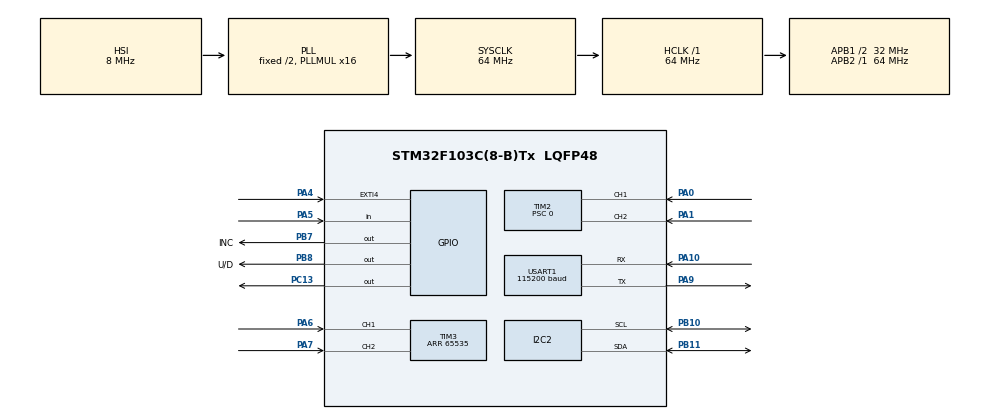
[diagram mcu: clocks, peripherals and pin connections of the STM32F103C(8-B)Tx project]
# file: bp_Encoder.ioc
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I2C2.I2C_Mode=I2C_Fast
Mcu.Family=STM32F1
Mcu.Name=STM32F103C(8-B)Tx
Mcu.Package=LQFP48
NVIC.PriorityGroup=NVIC_PRIORITYGROUP_4
NVIC.TIM4_IRQn=true\:0\:0\:false\:false\:true\:true
NVIC.USART1_IRQn=true\:0\:0\:false\:false\:true\:true
PA0-WKUP.GPIO_PuPd=GPIO_PULLUP
PA0-WKUP.Signal=S_TIM2_CH1_ETR
PA1.GPIO_PuPd=GPIO_PULLUP
PA1.Signal=S_TIM2_CH2
PA10.Mode=Asynchronous
PA10.Signal=USART1_RX
PA13.Mode=Serial_Wire
PA13.Signal=SYS_JTMS-SWDIO
PA14.Mode=Serial_Wire
PA14.Signal=SYS_JTCK-SWCLK
PA4.GPIO_ModeDefaultEXTI=GPIO_MODE_IT_RISING_FALLING
PA4.Signal=GPXTI4
PA5.Signal=GPIO_Input
PA6.Signal=S_TIM3_CH1
PA7.Signal=S_TIM3_CH2
PA9.Mode=Asynchronous
PA9.Signal=USART1_TX
PB10.Mode=I2C
PB10.Signal=I2C2_SCL
PB11.Mode=I2C
PB11.Signal=I2C2_SDA
PB7.GPIO_Label=INC
PB7.PinState=GPIO_PIN_SET
PB7.Signal=GPIO_Output
PB8.GPIO_Label=U/D
PB8.Signal=GPIO_Output
PC13-TAMPER-RTC.Signal=GPIO_Output
ProjectManager.HeapSize=0x200
ProjectManager.StackSize=0x400
ProjectManager.TargetToolchain=TrueSTUDIO
RCC.AHBFreq_Value=64000000
RCC.APB1CLKDivider=RCC_HCLK_DIV2
RCC.APB1Freq_Value=32000000
RCC.APB1TimFreq_Value=64000000
RCC.APB2Freq_Value=64000000
RCC.APB2TimFreq_Value=64000000
RCC.HCLKFreq_Value=64000000
RCC.PLLMUL=RCC_PLL_MUL16
RCC.SYSCLKFreq_VALUE=64000000
RCC.SYSCLKSource=RCC_SYSCLKSOURCE_PLLCLK
RCC.USBFreq_Value=64000000
SH.S_TIM2_CH1_ETR.0=TIM2_CH1,Encoder_Interface
SH.S_TIM2_CH2.0=TIM2_CH2,Encoder_Interface
SH.S_TIM3_CH1.0=TIM3_CH1,Encoder_Interface
SH.S_TIM3_CH2.0=TIM3_CH2,Encoder_Interface
TIM2.AutoReloadPreload=TIM_AUTORELOAD_PRELOAD_DISABLE
TIM2.EncoderMode=TIM_ENCODERMODE_TI12
TIM2.Period=65535
TIM2.Prescaler=0
TIM3.EncoderMode=TIM_ENCODERMODE_TI12
TIM3.Period=65535
TIM4.Period=9
TIM4.Prescaler=31
USART1.BaudRate=115200
USART1.VirtualMode=VM_ASYNC
VP_TIM4_VS_ClockSourceINT.Mode=Internal
board=custom

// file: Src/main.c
/* USER CODE BEGIN Header */
/**
  ******************************************************************************
  * @file           : main.c
  * @brief          : Main program body
  ******************************************************************************
  ** This notice applies to any and all portions of this file
  * that are not between comment pairs USER CODE BEGIN and
  * USER CODE END. Other portions of this file, whether
  * inserted by the user or by software development tools
  * are owned by their respective copyright owners.
  *
  * COPYRIGHT(c) 2019 STMicroelectronics
  *
  * Redistribution and use in source and binary forms, with or without modification,
  * are permitted provided that the following conditions are met:
  *   1. Redistributions of source code must retain the above copyright notice,
  *      this list of conditions and the following disclaimer.
  *   2. Redistributions in binary form must reproduce the above copyright notice,
  *      this list of conditions and the following disclaimer in the documentation
  *      and/or other materials provided with the distribution.
  *   3. Neither the name of STMicroelectronics nor the names of its contributors
  *      may be used to endorse or promote products derived from this software
  *      without specific prior written permission.
  *
  * THIS SOFTWARE IS PROVIDED BY THE COPYRIGHT HOLDERS AND CONTRIBUTORS "AS IS"
  * AND ANY EXPRESS OR IMPLIED WARRANTIES, INCLUDING, BUT NOT LIMITED TO, THE
  * IMPLIED WARRANTIES OF MERCHANTABILITY AND FITNESS FOR A PARTICULAR PURPOSE ARE
  * DISCLAIMED. IN NO EVENT SHALL THE COPYRIGHT HOLDER OR CONTRIBUTORS BE LIABLE
  * FOR ANY DIRECT, INDIRECT, INCIDENTAL, SPECIAL, EXEMPLARY, OR CONSEQUENTIAL
  * DAMAGES (INCLUDING, BUT NOT LIMITED TO, PROCUREMENT OF SUBSTITUTE GOODS OR
  * SERVICES; LOSS OF USE, DATA, OR PROFITS; OR BUSINESS INTERRUPTION) HOWEVER
  * CAUSED AND ON ANY THEORY OF LIABILITY, WHETHER IN CONTRACT, STRICT LIABILITY,
  * OR TORT (INCLUDING NEGLIGENCE OR OTHERWISE) ARISING IN ANY WAY OUT OF THE USE
  * OF THIS SOFTWARE, EVEN IF ADVISED OF THE POSSIBILITY OF SUCH DAMAGE.
  *
  ******************************************************************************
  */
/* USER CODE END Header */

#include "main.h"

/* USER CODE BEGIN Includes */
#include "ssd1306.h"
/* USER CODE END Includes */

I2C_HandleTypeDef hi2c2;

TIM_HandleTypeDef htim2;
TIM_HandleTypeDef htim3;
TIM_HandleTypeDef htim4;

UART_HandleTypeDef huart1;

/* USER CODE BEGIN PV */
int16_t n_pulsos_a = 0;
int16_t n_pulsos_b = 0;

int16_t prev_a = 0;
int16_t prev_b = 0;

uint8_t velocidad[1];
uint8_t cuenta = 0;
int steps = 0;
/* USER CODE END PV */

void SystemClock_Config(void);
static void MX_GPIO_Init(void);
static void MX_I2C2_Init(void);
static void MX_TIM2_Init(void);
static void MX_TIM3_Init(void);
static void MX_USART1_UART_Init(void);
static void MX_TIM4_Init(void);
/* USER CODE BEGIN PFP */
void init_resistencia();
void resistencia(uint8_t valor);
/* USER CODE END PFP */

int main(void)
{

  /* MCU Configuration--------------------------------------------------------*/

  /* Reset of all peripherals, Initializes the Flash interface and the Systick. */
  HAL_Init();

  /* Configure the system clock */
  SystemClock_Config();

  /* Initialize all configured peripherals */
  MX_GPIO_Init();
  MX_I2C2_Init();
  MX_TIM2_Init();
  MX_TIM3_Init();
  MX_USART1_UART_Init();
  MX_TIM4_Init();
  /* USER CODE BEGIN 2 */
  __HAL_UART_ENABLE_IT(&huart1, UART_IT_RXNE);
  init_resistencia();
  HAL_Delay(200);
  resistencia(50);

  set_oled_addr(0x78);
  ssd1306_sel_I2C(&hi2c2);
  SSD1306_Init ();

  SSD1306_UpdateScreen();
  HAL_TIM_Encoder_Start(&htim2, TIM_CHANNEL_2);
  HAL_TIM_Encoder_Start(&htim3, TIM_CHANNEL_2);

  uint8_t datos[2];
  /* USER CODE END 2 */

  /* Infinite loop */
  /* USER CODE BEGIN WHILE */
  while (1)
  {
	  n_pulsos_a = (TIM2->CNT);
	  n_pulsos_a = n_pulsos_a/4;
	  if(n_pulsos_a < 0){
		  n_pulsos_a = 0;
		  TIM2->CNT = 0;
	  }
	  if (n_pulsos_a > 100){
		  n_pulsos_a = 100;
		  TIM2->CNT = 400;
	  }
	  n_pulsos_b = (TIM3->CNT);
	  n_pulsos_b = n_pulsos_b/4;
	  if(n_pulsos_b < 0){
		  n_pulsos_b = 0;
		  TIM3->CNT = 0;
	  }
	  if (n_pulsos_b > 100){
		  n_pulsos_b = 100;
		  TIM3->CNT = 400;
	  }

	  if ((prev_a != n_pulsos_a) || (prev_b != n_pulsos_b)){
		  datos[0] = n_pulsos_a;
		  datos[1] = n_pulsos_b;
		  prev_a = n_pulsos_a;
		  prev_b = n_pulsos_b;
		  HAL_UART_Transmit(&huart1, datos, sizeof(datos), 10);
		  HAL_GPIO_TogglePin(GPIOC, GPIO_PIN_13);
	  }

	  SSD1306_Putint(n_pulsos_a, 1);
	  SSD1306_Putint(n_pulsos_b, 3);
	  SSD1306_UpdateScreen();
	  HAL_Delay(100);
    /* USER CODE END WHILE */

  }
}

void SystemClock_Config(void)
{
  RCC_OscInitTypeDef RCC_OscInitStruct = {0};
  RCC_ClkInitTypeDef RCC_ClkInitStruct = {0};

  /**Initializes the CPU, AHB and APB busses clocks
  */
  RCC_OscInitStruct.OscillatorType = RCC_OSCILLATORTYPE_HSI;
  RCC_OscInitStruct.HSIState = RCC_HSI_ON;
  RCC_OscInitStruct.HSICalibrationValue = RCC_HSICALIBRATION_DEFAULT;
  RCC_OscInitStruct.PLL.PLLState = RCC_PLL_ON;
  RCC_OscInitStruct.PLL.PLLSource = RCC_PLLSOURCE_HSI_DIV2;
  RCC_OscInitStruct.PLL.PLLMUL = RCC_PLL_MUL16;
  if (HAL_RCC_OscConfig(&RCC_OscInitStruct) != HAL_OK)
  {
    Error_Handler();
  }
  /**Initializes the CPU, AHB and APB busses clocks
  */
  RCC_ClkInitStruct.ClockType = RCC_CLOCKTYPE_HCLK|RCC_CLOCKTYPE_SYSCLK
                              |RCC_CLOCKTYPE_PCLK1|RCC_CLOCKTYPE_PCLK2;
  RCC_ClkInitStruct.SYSCLKSource = RCC_SYSCLKSOURCE_PLLCLK;
  RCC_ClkInitStruct.AHBCLKDivider = RCC_SYSCLK_DIV1;
  RCC_ClkInitStruct.APB1CLKDivider = RCC_HCLK_DIV2;
  RCC_ClkInitStruct.APB2CLKDivider = RCC_HCLK_DIV1;

  if (HAL_RCC_ClockConfig(&RCC_ClkInitStruct, FLASH_LATENCY_2) != HAL_OK)
  {
    Error_Handler();
  }
}

static void MX_I2C2_Init(void)
{

  hi2c2.Instance = I2C2;
  hi2c2.Init.ClockSpeed = 400000;
  hi2c2.Init.DutyCycle = I2C_DUTYCYCLE_2;
  hi2c2.Init.OwnAddress1 = 0;
  hi2c2.Init.AddressingMode = I2C_ADDRESSINGMODE_7BIT;
  hi2c2.Init.DualAddressMode = I2C_DUALADDRESS_DISABLE;
  hi2c2.Init.OwnAddress2 = 0;
  hi2c2.Init.GeneralCallMode = I2C_GENERALCALL_DISABLE;
  hi2c2.Init.NoStretchMode = I2C_NOSTRETCH_DISABLE;
  if (HAL_I2C_Init(&hi2c2) != HAL_OK)
  {
    Error_Handler();
  }

}

static void MX_TIM2_Init(void)
{

  TIM_Encoder_InitTypeDef sConfig = {0};
  TIM_MasterConfigTypeDef sMasterConfig = {0};

  htim2.Instance = TIM2;
  htim2.Init.Prescaler = 0;
  htim2.Init.CounterMode = TIM_COUNTERMODE_UP;
  htim2.Init.Period = 65535;
  htim2.Init.ClockDivision = TIM_CLOCKDIVISION_DIV1;
  htim2.Init.AutoReloadPreload = TIM_AUTORELOAD_PRELOAD_DISABLE;
  sConfig.EncoderMode = TIM_ENCODERMODE_TI12;
  sConfig.IC1Polarity = TIM_ICPOLARITY_RISING;
  sConfig.IC1Selection = TIM_ICSELECTION_DIRECTTI;
  sConfig.IC1Prescaler = TIM_ICPSC_DIV1;
  sConfig.IC1Filter = 0;
  sConfig.IC2Polarity = TIM_ICPOLARITY_RISING;
  sConfig.IC2Selection = TIM_ICSELECTION_DIRECTTI;
  sConfig.IC2Prescaler = TIM_ICPSC_DIV1;
  sConfig.IC2Filter = 0;
  if (HAL_TIM_Encoder_Init(&htim2, &sConfig) != HAL_OK)
  {
    Error_Handler();
  }
  sMasterConfig.MasterOutputTrigger = TIM_TRGO_RESET;
  sMasterConfig.MasterSlaveMode = TIM_MASTERSLAVEMODE_DISABLE;
  if (HAL_TIMEx_MasterConfigSynchronization(&htim2, &sMasterConfig) != HAL_OK)
  {
    Error_Handler();
  }

}

static void MX_TIM3_Init(void)
{

  TIM_Encoder_InitTypeDef sConfig = {0};
  TIM_MasterConfigTypeDef sMasterConfig = {0};

  htim3.Instance = TIM3;
  htim3.Init.Prescaler = 0;
  htim3.Init.CounterMode = TIM_COUNTERMODE_UP;
  htim3.Init.Period = 65535;
  htim3.Init.ClockDivision = TIM_CLOCKDIVISION_DIV1;
  htim3.Init.AutoReloadPreload = TIM_AUTORELOAD_PRELOAD_DISABLE;
  sConfig.EncoderMode = TIM_ENCODERMODE_TI12;
  sConfig.IC1Polarity = TIM_ICPOLARITY_RISING;
  sConfig.IC1Selection = TIM_ICSELECTION_DIRECTTI;
  sConfig.IC1Prescaler = TIM_ICPSC_DIV1;
  sConfig.IC1Filter = 0;
  sConfig.IC2Polarity = TIM_ICPOLARITY_RISING;
  sConfig.IC2Selection = TIM_ICSELECTION_DIRECTTI;
  sConfig.IC2Prescaler = TIM_ICPSC_DIV1;
  sConfig.IC2Filter = 0;
  if (HAL_TIM_Encoder_Init(&htim3, &sConfig) != HAL_OK)
  {
    Error_Handler();
  }
  sMasterConfig.MasterOutputTrigger = TIM_TRGO_RESET;
  sMasterConfig.MasterSlaveMode = TIM_MASTERSLAVEMODE_DISABLE;
  if (HAL_TIMEx_MasterConfigSynchronization(&htim3, &sMasterConfig) != HAL_OK)
  {
    Error_Handler();
  }

}

static void MX_TIM4_Init(void)
{

  TIM_ClockConfigTypeDef sClockSourceConfig = {0};
  TIM_MasterConfigTypeDef sMasterConfig = {0};

  htim4.Instance = TIM4;
  htim4.Init.Prescaler = 31;
  htim4.Init.CounterMode = TIM_COUNTERMODE_UP;
  htim4.Init.Period = 9;
  htim4.Init.ClockDivision = TIM_CLOCKDIVISION_DIV1;
  htim4.Init.AutoReloadPreload = TIM_AUTORELOAD_PRELOAD_DISABLE;
  if (HAL_TIM_Base_Init(&htim4) != HAL_OK)
  {
    Error_Handler();
  }
  sClockSourceConfig.ClockSource = TIM_CLOCKSOURCE_INTERNAL;
  if (HAL_TIM_ConfigClockSource(&htim4, &sClockSourceConfig) != HAL_OK)
  {
    Error_Handler();
  }
  sMasterConfig.MasterOutputTrigger = TIM_TRGO_RESET;
  sMasterConfig.MasterSlaveMode = TIM_MASTERSLAVEMODE_DISABLE;
  if (HAL_TIMEx_MasterConfigSynchronization(&htim4, &sMasterConfig) != HAL_OK)
  {
    Error_Handler();
  }

}

static void MX_USART1_UART_Init(void)
{

  huart1.Instance = USART1;
  huart1.Init.BaudRate = 115200;
  huart1.Init.WordLength = UART_WORDLENGTH_8B;
  huart1.Init.StopBits = UART_STOPBITS_1;
  huart1.Init.Parity = UART_PARITY_NONE;
  huart1.Init.Mode = UART_MODE_TX_RX;
  huart1.Init.HwFlowCtl = UART_HWCONTROL_NONE;
  huart1.Init.OverSampling = UART_OVERSAMPLING_16;
  if (HAL_UART_Init(&huart1) != HAL_OK)
  {
    Error_Handler();
  }

}

static void MX_GPIO_Init(void)
{
  GPIO_InitTypeDef GPIO_InitStruct = {0};

  /* GPIO Ports Clock Enable */
  __HAL_RCC_GPIOC_CLK_ENABLE();
  __HAL_RCC_GPIOA_CLK_ENABLE();
  __HAL_RCC_GPIOB_CLK_ENABLE();

  /*Configure GPIO pin Output Level */
  HAL_GPIO_WritePin(GPIOC, GPIO_PIN_13, GPIO_PIN_RESET);

  /*Configure GPIO pin Output Level */
  HAL_GPIO_WritePin(INC_GPIO_Port, INC_Pin, GPIO_PIN_SET);

  /*Configure GPIO pin Output Level */
  HAL_GPIO_WritePin(U_D_GPIO_Port, U_D_Pin, GPIO_PIN_RESET);

  /*Configure GPIO pin : PC13 */
  GPIO_InitStruct.Pin = GPIO_PIN_13;
  GPIO_InitStruct.Mode = GPIO_MODE_OUTPUT_PP;
  GPIO_InitStruct.Pull = GPIO_NOPULL;
  GPIO_InitStruct.Speed = GPIO_SPEED_FREQ_LOW;
  HAL_GPIO_Init(GPIOC, &GPIO_InitStruct);

  /*Configure GPIO pin : PA4 */
  GPIO_InitStruct.Pin = GPIO_PIN_4;
  GPIO_InitStruct.Mode = GPIO_MODE_IT_RISING_FALLING;
  GPIO_InitStruct.Pull = GPIO_NOPULL;
  HAL_GPIO_Init(GPIOA, &GPIO_InitStruct);

  /*Configure GPIO pin : PA5 */
  GPIO_InitStruct.Pin = GPIO_PIN_5;
  GPIO_InitStruct.Mode = GPIO_MODE_INPUT;
  GPIO_InitStruct.Pull = GPIO_NOPULL;
  HAL_GPIO_Init(GPIOA, &GPIO_InitStruct);

  /*Configure GPIO pins : INC_Pin U_D_Pin */
  GPIO_InitStruct.Pin = INC_Pin|U_D_Pin;
  GPIO_InitStruct.Mode = GPIO_MODE_OUTPUT_PP;
  GPIO_InitStruct.Pull = GPIO_NOPULL;
  GPIO_InitStruct.Speed = GPIO_SPEED_FREQ_LOW;
  HAL_GPIO_Init(GPIOB, &GPIO_InitStruct);

}

/* USER CODE BEGIN 4 */
void init_resistencia(){
	steps = 200;
	HAL_GPIO_WritePin(GPIOB,GPIO_PIN_8, 0);
	HAL_TIM_Base_Start_IT(&htim4);
}

void resistencia(uint8_t valor){
	static int resist = 0;
	steps = 2*(valor - resist);

	if (steps < 0){
		HAL_GPIO_WritePin(GPIOB,GPIO_PIN_8, 0);
		steps = -steps;
	}
	else {
		HAL_GPIO_WritePin(GPIOB,GPIO_PIN_8, 1);
	}
	 HAL_TIM_Base_Start_IT(&htim4);
	 resist = valor;

}

void HAL_TIM_PeriodElapsedCallback(TIM_HandleTypeDef *htim){
	if (htim == &htim4){
		HAL_GPIO_TogglePin(GPIOB, GPIO_PIN_7);
		cuenta++;
		if (cuenta >= steps){
			cuenta = 0;
			HAL_TIM_Base_Stop_IT(&htim4);

		}
	}
}

void HAL_UART_RxCpltCallback(UART_HandleTypeDef *huart) {
	if (huart == &huart1){
			int vel = velocidad[0]*100/127;
			resistencia(vel);
		}
		__HAL_UART_ENABLE_IT(&huart1, UART_IT_RXNE); // Volvemos a activar las interrupciones de la UART1
}
/* USER CODE END 4 */

void Error_Handler(void)
{
}

/************************ (C) COPYRIGHT STMicroelectronics *****END OF FILE****/
